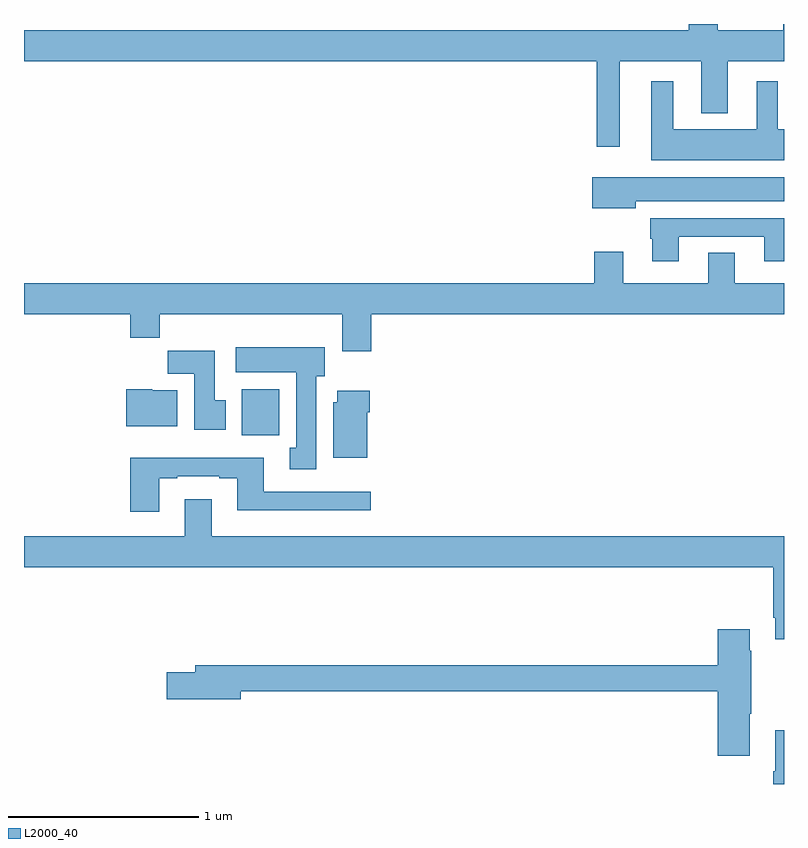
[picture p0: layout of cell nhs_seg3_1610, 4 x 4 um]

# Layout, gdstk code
import gdstk
lib = gdstk.Library(unit=1e-6, precision=1e-09)
def R(c, l, rs):  # rectangles x0, y0, x1, y1
    for r in rs: c.add(gdstk.rectangle(r[:2], r[2:], *l))
def P(c, l, *ps):  # polygons
    for p in ps: c.add(gdstk.Polygon(p, *l))
L2000_40 = (2000, 40)

nhs_seg3_1610 = lib.new_cell('nhs_seg3_1610')
R(nhs_seg3_1610, L2000_40, [(194.147,744.236,194.344,744.478)])
P(nhs_seg3_1610, L2000_40, [(196.135,746.204),(196.565,746.204),(196.565,745.931),(196.705,745.931),(196.705,746.204),(197,746.204),(197,746.4),(196.996,746.4),(196.996,746.368),(196.651,746.368),(196.651,746.4),(196.499,746.4),(196.499,746.368),(193,746.368),(193,746.204),(196.014,746.204),(196.014,745.755),(196.135,745.755)],
  [(197,745.846),(196.966,745.846),(196.966,746.098),(196.856,746.098),(196.856,745.846),(196.417,745.846),(196.417,746.098),(196.301,746.098),(196.301,745.682),(197,745.682)],
  [(196.219,745.466),(197,745.466),(197,745.594),(195.99,745.594),(195.99,745.43),(196.219,745.43)],
  [(196.447,745.281),(196.895,745.281),(196.895,745.152),(197,745.152),(197,745.377),(196.295,745.377),(196.295,745.269),(196.307,745.269),(196.307,745.152),(196.447,745.152)],
  [(194.828,744.872),(197,744.872),(197,745.036),(196.741,745.036),(196.741,745.196),(196.601,745.196),(196.601,745.036),(196.153,745.036),(196.153,745.201),(196.001,745.201),(196.001,745.036),(193,745.036),(193,744.872),(193.559,744.872),(193.559,744.748),(193.715,744.748),(193.715,744.872),(194.675,744.872),(194.675,744.678),(194.828,744.678)],
  [(194.539,744.546),(194.584,744.546),(194.584,744.7),(194.115,744.7),(194.115,744.566),(194.432,744.566),(194.432,744.17),(194.399,744.17),(194.399,744.057),(194.539,744.057)],
  [(194.062,744.42),(194.005,744.42),(194.005,744.679),(193.756,744.679),(193.756,744.56),(193.895,744.56),(193.895,744.264),(194.062,744.264)],
  [(193.807,744.472),(193.674,744.472),(193.674,744.478),(193.538,744.478),(193.538,744.284),(193.807,744.284)],
  [(194.806,744.356),(194.819,744.356),(194.819,744.469),(194.648,744.469),(194.648,744.408),(194.627,744.408),(194.627,744.116),(194.806,744.116)],
  [(193.711,744.009),(193.807,744.009),(193.807,744.021),(194.027,744.021),(194.027,744.009),(194.123,744.009),(194.123,743.84),(194.824,743.84),(194.824,743.937),(194.263,743.937),(194.263,744.118),(193.559,744.118),(193.559,743.832),(193.711,743.832)],
  [(193.987,743.899),(193.847,743.899),(193.847,743.704),(193,743.704),(193,743.54),(196.943,743.54),(196.943,743.275),(196.955,743.275),(196.955,743.163),(197,743.163),(197,743.704),(193.987,743.704)],
  [(196.819,742.771),(196.827,742.771),(196.827,743.102),(196.819,743.102),(196.819,743.215),(196.652,743.215),(196.652,743.024),(193.901,743.024),(193.901,742.988),(193.752,742.988),(193.752,742.846),(194.14,742.846),(194.14,742.888),(196.652,742.888),(196.652,742.548),(196.819,742.548)],
  [(197,742.684),(196.955,742.684),(196.955,742.468),(196.943,742.468),(196.943,742.4),(197,742.4)])

lib.write_gds('nhs_seg3_1610.gds')
